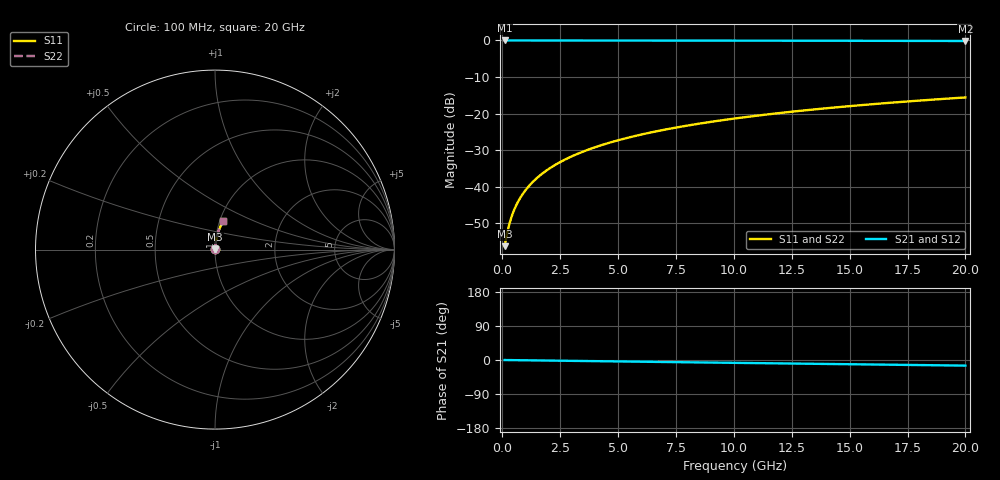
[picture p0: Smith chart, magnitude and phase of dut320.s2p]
! Touchstone file exported from HFSS 2026.1.0
!  File:  C:/ffzhzh/LocalFiles/Ansys_Project_Files/temp_train_TMRDL_320_1783003475_55676.aedt
!  Generated:  10:45:58 PM Jul  2, 2026
!  Design:  TMRDL
!  Project:  temp_train_TMRDL_320_1783003475_55676
! Variables:
!  h_bsmrdl = 2um
!  h_ox = 20um
!  h_rdl = 5um
!  h_sub = 80um
!  h_tmrdl = 2.53um
!  h_tsv = 80um
!  h_via = 3um
!  l_bsmrdl = 300um
!  l_sub = 554.66um
!  l_tmrdl = 154.66um
!  m_sub = 200um
!  pitch = 56.41um
!  r_tsv = 6um
!  s_tmrdl = 10um
!  w_bsmrdl = 18um
!  w_sub = 500um
!  w_tmrdl = 24.91um
!  x_tsv_center1 = 167.115um
!  x_tsv_center2 = 485.115um
!  x_tsv_center3 = 664.685um
!  x_tsv_center4 = 982.685um
!  x_tsv_center5 = 1162.255um
!  x_tsv_center6 = 1480.255um
# GHz S MA R 50.000000
! Terminal data exported
! Port[1] = TM_RDL1_1_T1
! Port[2] = TM_RDL1_1_T2
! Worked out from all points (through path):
!   200 points, 100 MHz to 20 GHz, reference 50 ohm
!   highest |S21| = -0.01 dB at 100 MHz (marker M1); lowest = -0.2 dB at 20 GHz (marker M2)
!   group delay of S21, straight-line fit = 2.06 ps
!   lowest |S11| = -56.3 dB at 100 MHz (marker M3), VSWR 1.00, Z = 50.1 + j0.0933 ohm
!   |S11| at or under -10 dB: start of sweep to end of sweep
!   |S22| runs from -56.3 to -15.6 dB; largest |S21 - S12| = 2.7e-15
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0.1  0.001535 37.3  0.9988 -0.1  0.9988 -0.1  0.001535 37.3
! Gamma 0 0 0 0
! Port Impedance 50 0 50 0
0.2  0.002236 55.7  0.9987 -0.2  0.9987 -0.2  0.002236 55.7
0.3  0.003043 64.5  0.9987 -0.2  0.9987 -0.2  0.003043 64.5
0.4  0.003877 69.4  0.9986 -0.3  0.9986 -0.3  0.003877 69.4
0.5  0.004716 72.5  0.9986 -0.4  0.9986 -0.4  0.004716 72.5
0.6  0.005555 74.7  0.9986 -0.5  0.9986 -0.5  0.005555 74.7
0.8  0.007235 77.6  0.9985 -0.6  0.9985 -0.6  0.007235 77.6
1.1  0.009766 80.1  0.9984 -0.8  0.9984 -0.8  0.009766 80.1
1.3  0.01146 81.2  0.9984 -1.0  0.9984 -1.0  0.01146 81.2
1.6  0.01401 82.3  0.9983 -1.2  0.9983 -1.2  0.01401 82.3
2.1  0.01828 83.3  0.9982 -1.6  0.9982 -1.6  0.01828 83.3
2.7  0.02341 83.9  0.9981 -2.0  0.9981 -2.0  0.02341 83.9
3.5  0.03026 84.1  0.9978 -2.6  0.9978 -2.6  0.03026 84.1
4.2  0.03625 84.0  0.9975 -3.2  0.9975 -3.2  0.03625 84.0
5  0.04308 83.7  0.9972 -3.8  0.9972 -3.8  0.04308 83.7
5.9  0.05074 83.3  0.9967 -4.4  0.9967 -4.4  0.05074 83.3
6.8  0.05837 82.8  0.9962 -5.1  0.9962 -5.1  0.05837 82.8
8.3  0.07103 81.9  0.9952 -6.2  0.9952 -6.2  0.07103 81.9
10.1  0.08608 80.7  0.9937 -7.6  0.9937 -7.6  0.08608 80.7
13.4  0.1133 78.4  0.9905 -10.0  0.9905 -10.0  0.1133 78.4
16.7  0.14 76.1  0.9867 -12.4  0.9867 -12.4  0.14 76.2
20  0.1661 73.9  0.9822 -14.8  0.9822 -14.8  0.1661 73.9
